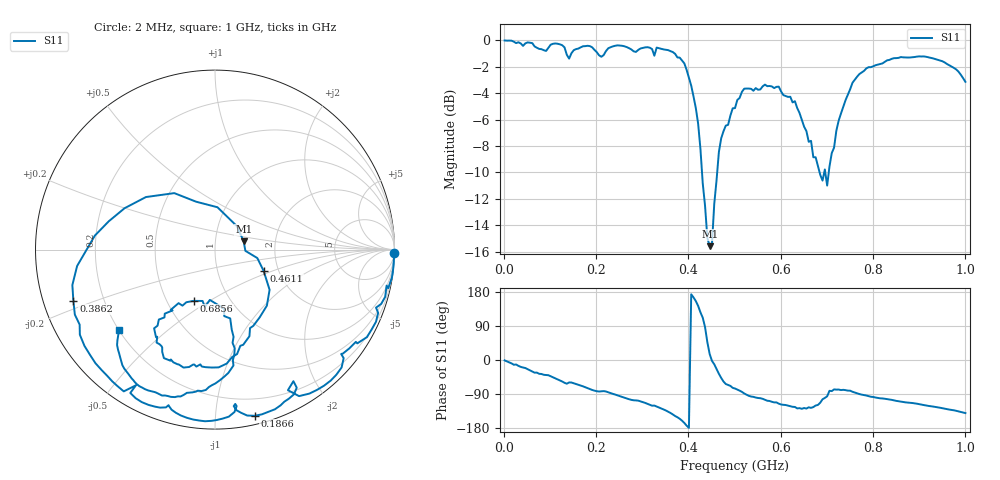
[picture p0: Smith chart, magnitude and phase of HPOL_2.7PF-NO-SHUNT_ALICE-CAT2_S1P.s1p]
!Agilent N9923A: A.07.32
!Date: Saturday, 22 February 2020 04:50:10
!Model: N9923A
!Serial: MY52412229
!GPS Latitude:
!GPS Longitude:
!GPS TimeStamp: 0001-01-01 00:00:00Z
!GPS Seconds Since Last Read: 0
!CHECKSUM:1722532792
!Correction: S11(ON U)
!S1P File: Measurement: S11:
# Hz S DB R 50
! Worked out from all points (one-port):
!   201 points, 2 MHz to 1 GHz, reference 50 ohm
!   lowest |S11| = -15.6 dB at 446.1 MHz (marker M1), VSWR 1.40, Z = 68.7 + j6.39 ohm
!   |S11| at or under -10 dB: 429.5 MHz to 462.4 MHz (32.89 MHz wide, 7.37 % of centre); 684.2 MHz to 694.3 MHz (10.05 MHz wide, 1.46 % of centre); 696.5 MHz to 704.1 MHz (7.536 MHz wide, 1.08 % of centre)
!   S11 on the Smith chart (normalised r, x): 2 MHz: open; 186.6 MHz: 0.06, -1.26; 386.2 MHz: 0.09, -0.17; 461.1 MHz: 1.67, -0.44; 685.6 MHz: 0.68, -0.43; 1 GHz: 0.20, -0.35
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2000000  -0.00 -1.0
6.687e7  -0.45 -33.4
1.2675e8  -0.36 -56.7
1.4172e8  -1.38 -59.2
1.8663e8  -0.43 -76.6
2.1158e8  -1.24 -82.5
2.515e8  -0.39 -95.4
3.3134e8  -0.54 -122.8
3.7625e8  -1.29 -151.0
3.8623e8  -1.52 -160.1
4.0619e8  -3.43 173.4
4.2116e8  -6.31 142.7
4.3613e8  -12.53 86.7
4.4611e8  -15.59 15.8
4.511e8  -15.42 -2.3
4.6108e8  -10.57 -23.7
4.7605e8  -6.88 -56.7
5.01e8  -5.13 -75.2
5.2096e8  -3.66 -88.2
5.6587e8  -3.35 -104.9
6.2575e8  -4.70 -123.6
6.8563e8  -10.18 -112.7
7.006e8  -11.00 -95.8
7.505e8  -3.69 -81.0
7.9042e8  -2.03 -95.5
8.7525e8  -1.29 -112.3
9.4511e8  -1.52 -126.0
1e9  -3.14 -140.1
